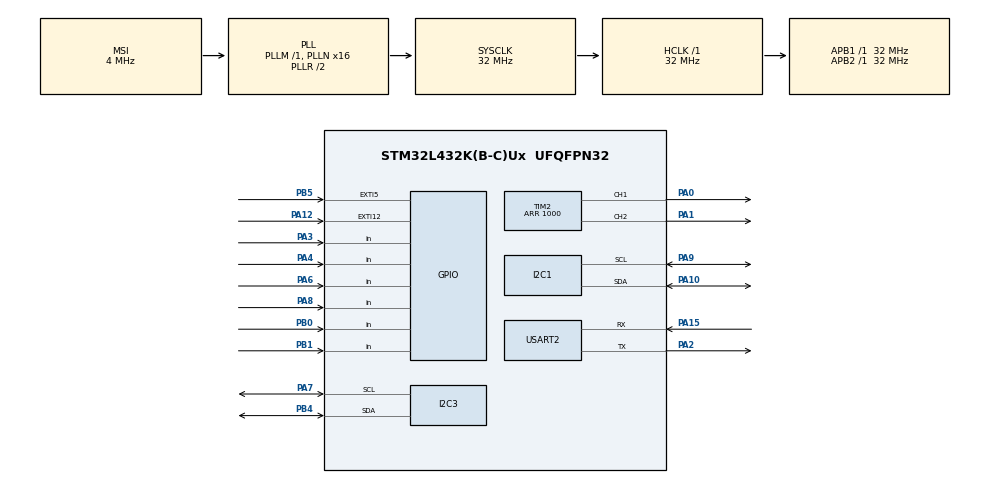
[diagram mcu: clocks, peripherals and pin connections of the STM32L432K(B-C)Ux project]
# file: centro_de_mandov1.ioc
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I2C1.Timing=0x00B07CB4
I2C3.Timing=0x00B07CB4
Mcu.Family=STM32L4
Mcu.Name=STM32L432K(B-C)Ux
Mcu.Package=UFQFPN32
NVIC.EXTI15_10_IRQn=true\:0\:0\:false\:false\:true\:true\:true\:true
NVIC.EXTI9_5_IRQn=true\:0\:0\:false\:false\:true\:true\:true\:true
NVIC.PriorityGroup=NVIC_PRIORITYGROUP_4
NVIC.USART2_IRQn=true\:0\:0\:false\:false\:true\:true\:true\:true
PA0.Signal=S_TIM2_CH1
PA1.Signal=S_TIM2_CH2
PA10.Mode=I2C
PA10.Signal=I2C1_SDA
PA12.GPIO_ModeDefaultEXTI=GPIO_MODE_IT_RISING_FALLING
PA12.Signal=GPXTI12
PA15\ (JTDI).Mode=Asynchronous
PA15\ (JTDI).Signal=USART2_RX
PA2.Mode=Asynchronous
PA2.Signal=USART2_TX
PA3.GPIO_PuPd=GPIO_PULLDOWN
PA3.Signal=GPIO_Input
PA4.GPIO_PuPd=GPIO_PULLDOWN
PA4.Signal=GPIO_Input
PA6.GPIO_PuPd=GPIO_PULLDOWN
PA6.Signal=GPIO_Input
PA7.Mode=I2C
PA7.Signal=I2C3_SCL
PA8.GPIO_PuPd=GPIO_PULLDOWN
PA8.Signal=GPIO_Input
PA9.Mode=I2C
PA9.Signal=I2C1_SCL
PB0.GPIO_PuPd=GPIO_PULLDOWN
PB0.Signal=GPIO_Input
PB1.GPIO_PuPd=GPIO_PULLDOWN
PB1.Signal=GPIO_Input
PB4\ (NJTRST).Mode=I2C
PB4\ (NJTRST).Signal=I2C3_SDA
PB5.GPIO_ModeDefaultEXTI=GPIO_MODE_IT_RISING_FALLING
PB5.GPIO_PuPd=GPIO_PULLUP
PB5.Signal=GPXTI5
ProjectManager.HeapSize=0x200
ProjectManager.StackSize=0x400
ProjectManager.TargetToolchain=STM32CubeIDE
RCC.AHBFreq_Value=32000000
RCC.APB1Freq_Value=32000000
RCC.APB1TimFreq_Value=32000000
RCC.APB2Freq_Value=32000000
RCC.APB2TimFreq_Value=32000000
RCC.CortexFreq_Value=32000000
RCC.HCLKFreq_Value=32000000
RCC.HSE_VALUE=8000000
RCC.HSI16_VALUE=16000000
RCC.HSI48_VALUE=48000000
RCC.HSI_VALUE=16000000
RCC.LSE_VALUE=32768
RCC.MSI_VALUE=4000000
RCC.PLLMUL=RCC_PLLMUL_4
RCC.PLLN=16
RCC.SYSCLKFreq_VALUE=32000000
RCC.SYSCLKSource=RCC_SYSCLKSOURCE_PLLCLK
RCC.VCOOutputFreq_Value=64000000
SH.S_TIM2_CH1.0=TIM2_CH1,PWM Generation1 CH1
SH.S_TIM2_CH2.0=TIM2_CH2,PWM Generation2 CH2
TIM2.Channel-PWM\ Generation1\ CH1=TIM_CHANNEL_1
TIM2.Channel-PWM\ Generation2\ CH2=TIM_CHANNEL_2
TIM2.Period=1000
USART2.VirtualMode-Asynchronous=VM_ASYNC
VP_TIM2_VS_ClockSourceINT.Mode=Internal
board=NUCLEO-L432KC

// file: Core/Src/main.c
/* USER CODE BEGIN Header */
/**
  ******************************************************************************
  * @file           : main.c
  * @brief          : Main program body
  ******************************************************************************
  * @attention
  *
  * Copyright (c) 2025 STMicroelectronics.
  * All rights reserved.
  *
  * This software is licensed under terms that can be found in the LICENSE file
  * in the root directory of this software component.
  * If no LICENSE file comes with this software, it is provided AS-IS.
  *
  ******************************************************************************
  */
/* USER CODE END Header */
#include "main.h"
#include "i2c.h"
#include "tim.h"
#include "usart.h"
#include "gpio.h"

/* USER CODE BEGIN Includes */
#include <stdio.h>  // Necesario para printf y sscanf
#include <string.h>
/* USER CODE END Includes */

/* USER CODE BEGIN PV */
uint8_t btn_lim, btn_su, btn1, btn2, btn3, btn4;
uint8_t bl_last=0, bs_last=0, b1_last=0, b2_last=0, b3_last=0, b4_last=0;
uint16_t angulo_anterior_1 = 0, angulo_anterior_2 = 0;
int32_t enc1_accumulator = 0, enc2_accumulator = 0;
//4096 pulsos del sensor en 360 grados
const int32_t MAGNETIC_THRESHOLD_1 = 90; // Para el volante 1 e2 de 8 grado
const int32_t MAGNETIC_THRESHOLD_2 = 90; // Para el volante 2 e1 de 8 grado es mayor por la transmision
int8_t enc1_send = 0, enc2_send = 0, activate = 0;

volatile int32_t encoder_insercion = 0;
uint32_t last_irq_ins = 0;
int8_t pasos_acumulados_ins = 0;
const int8_t PASOS_POR_CLICK = 2;

uint8_t err_encoder = 0;

uint8_t rx_byte;
char rx_buffer[20];
uint8_t rx_index = 0;
uint8_t mensaje_completo = 0;

// VARIABLES PARA EL VIBRADOR
uint32_t tiempo_inicio_vibracion = 0;
uint8_t vibrando = 0;

// Tabla de estados válidos del encoder
// Solo suma 1 o resta -1 si la secuencia física es matemáticamente correcta.
const int8_t tabla_encoder[16] = {0, 1, -1, 0, -1, 0, 0, 1, 1, 0, 0, -1, 0, -1, 1, 0};

// Memoria para guardar el estado del milisegundo anterior
uint8_t estado_ant_1 = 0;
uint8_t estado_ant_2 = 0;

/* USER CODE END PV */

void SystemClock_Config(void);

/* USER CODE BEGIN 0 */
#define AS5600_ADDR 0x6C // 0x36 desplazado a la izquierda para STM32
#define RAW_ANGLE_REG 0x0C

// Llamamos a los puertos I2C que configurarás en el CubeIDE
extern I2C_HandleTypeDef hi2c1;
extern I2C_HandleTypeDef hi2c3;

uint8_t readButton(GPIO_TypeDef* GPIOx, uint16_t GPIO_Pin, uint8_t *lastState) {
    uint8_t current = HAL_GPIO_ReadPin(GPIOx, GPIO_Pin);
    uint8_t pressed = 0;

    if (current != *lastState) {
        HAL_Delay(10); // debounce
        current = HAL_GPIO_ReadPin(GPIOx, GPIO_Pin);

        if (current != *lastState) {
            *lastState = current;
            if (current == 1) pressed = 1; // Solo reacciona al soltar/presionar (flanco de subida)
        }
    }
    return pressed;
}

// Leer ángulo del AS5600
uint16_t Leer_Angulo_AS5600(I2C_HandleTypeDef *hi2c, uint16_t angulo_seguro) {
    uint8_t buffer[2];
    // Solicitamos 2 bytes desde el registro 0x0C
    if (HAL_I2C_Mem_Read(hi2c, AS5600_ADDR, RAW_ANGLE_REG, I2C_MEMADD_SIZE_8BIT, buffer, 2, 10) == HAL_OK) {
        uint16_t angulo = (buffer[0] << 8) | buffer[1];
        return angulo & 0x0FFF; // Filtramos la basura para dejar solo 12 bits
    }
    return angulo_seguro; // Si el I2C falla Retorna 0 si el sensor está desconectado
}

int _write(int file, char *ptr, int len) {
    HAL_UART_Transmit(&huart2, (uint8_t*)ptr, len, HAL_MAX_DELAY);
    return len;
}
// INTERRUPCIONES DE LOS ENCODERS (Máquina de Estados)
void HAL_GPIO_EXTI_Callback(uint16_t GPIO_Pin) {

    // ENCODER 1: Inserción (PB5 = CLK, PA12 = DT)
    if(GPIO_Pin == GPIO_PIN_5 || GPIO_Pin == GPIO_PIN_12) {

        uint8_t clk = HAL_GPIO_ReadPin(GPIOB, GPIO_PIN_5);
        uint8_t dt = HAL_GPIO_ReadPin(GPIOA, GPIO_PIN_12);

        uint8_t estado_actual = (clk << 1) | dt;
        uint8_t indice = (estado_ant_1 << 2) | estado_actual;

        int8_t movimiento = tabla_encoder[indice];

        if(movimiento != 0) {
            // En lugar de disparar directo, ACUMULAMOS los micropasos
            pasos_acumulados_ins += movimiento;

            // Verificamos si ya se completó el "Click Físico"
            if(pasos_acumulados_ins >= PASOS_POR_CLICK) {
                encoder_insercion += 1;
                activate = 1;
                pasos_acumulados_ins = 0; // Vaciamos el acumulador
            }
            else if(pasos_acumulados_ins <= -PASOS_POR_CLICK) {
                encoder_insercion -= 1;
                activate = 1;
                pasos_acumulados_ins = 0; // Vaciamos el acumulador
            }
        }

        estado_ant_1 = estado_actual;
    }
}
// INTERRUPCIÓN DE RECEPCIÓN UART (Mensajes de Unity)
// Unity debe enviar mensajes terminados en '\n', ej: "V1:100\n"

void HAL_UART_RxCpltCallback(UART_HandleTypeDef *huart) {
    if(huart->Instance == USART2) {

        // 1. CASO  pregunta de identificación?
        if(rx_byte == '?') {
            // Respondemos con la firma única del proyecto
            // El \n es vital para que el puerto serial de Unity sepa que terminó la línea
            printf("ID:ENDOSCOPIO_V1\n");

            // NO guardamos el '?' en el buffer, simplemente reiniciamos la escucha
        }
        // CASO PING INSTANTÁNEO
        else if(rx_byte == 'P') {
			printf("PONG\r\n"); // Rebota a la velocidad de la luz
		}
		// ------------------------------------
		// 2. CASO NORMAL: Mensajes de vibración terminados en \n
		else {
			if(rx_byte == '\n' || rx_index >= 19) {
				rx_buffer[rx_index] = '\0'; // Terminamos el string
				mensaje_completo = 1;
				rx_index = 0;
			} else {
				rx_buffer[rx_index++] = rx_byte;
			}
		}

        // 3. CONTINUIDAD: Volvemos a habilitar la escucha del siguiente byte
        HAL_UART_Receive_IT(&huart2, &rx_byte, 1);
    }
}
/* USER CODE END 0 */

int main(void)
{

  /* MCU Configuration--------------------------------------------------------*/

  /* Reset of all peripherals, Initializes the Flash interface and the Systick. */
  HAL_Init();

  /* Configure the system clock */
  SystemClock_Config();

  /* Initialize all configured peripherals */
  MX_GPIO_Init();
  MX_I2C1_Init();
  MX_I2C3_Init();
  MX_TIM2_Init();
  MX_USART2_UART_Init();
  /* USER CODE BEGIN 2 */
  printf("\r\n--- INICIANDO TEST CRUDO I2C ---\r\n");
    uint8_t test_buffer[2];

    // Test I2C1 (Volante 1 en PA9/PA10)
    if(HAL_I2C_Mem_Read(&hi2c1, 0x6C, 0x0C, I2C_MEMADD_SIZE_8BIT, test_buffer, 2, 100) == HAL_OK) {
        printf(">>> I2C1 (PA9/PB10) VIVO <<< Angulo: %d\r\n", (test_buffer[0] << 8) | test_buffer[1]);
    } else {
        uint32_t err1 = HAL_I2C_GetError(&hi2c1);
        printf("I2C1 MUERTO. Codigo error HAL: %lu\r\n", err1);
    }

    // Test I2C3 (Volante 2 en PA7 / PB4)
    if(HAL_I2C_Mem_Read(&hi2c3, 0x6C, 0x0C, I2C_MEMADD_SIZE_8BIT, test_buffer, 2, 100) == HAL_OK) {
        printf(">>> I2C3 (PA7/PB4) VIVO <<< Angulo: %d\r\n", (test_buffer[0] << 8) | test_buffer[1]);
    } else {
        uint32_t err3 = HAL_I2C_GetError(&hi2c3);
        printf("I2C3 MUERTO. Codigo error HAL: %lu\r\n", err3);
    }

    printf("--------------------------------\r\n");
    HAL_Delay(3000);
  // Encender PWM de Motores en 0% (TIM2)
  HAL_TIM_PWM_Start(&htim2, TIM_CHANNEL_1); // PA0
  HAL_TIM_PWM_Start(&htim2, TIM_CHANNEL_2); // PA1
  TIM2->CCR1 = 0; // Motor 1 apagado (0 a 1000)
  TIM2->CCR2 = 0; // Motor 2 apagado

  // Iniciar escucha por Serial (UART2)
  HAL_UART_Receive_IT(&huart2, &rx_byte, 1);

  // Lectura inicial de AS5600
  angulo_anterior_1 = Leer_Angulo_AS5600(&hi2c1, 1512);
  angulo_anterior_2 = Leer_Angulo_AS5600(&hi2c3, 1512);
  /* USER CODE END 2 */

  /* Infinite loop */
  /* USER CODE BEGIN WHILE */
  while (1)
    {

	    // 1. BOTONES
	    btn_lim = readButton(GPIOB, GPIO_PIN_1, &bl_last);
	    btn_su  = readButton(GPIOA, GPIO_PIN_3, &bs_last);
	    btn1    = readButton(GPIOA, GPIO_PIN_4, &b1_last);
	    btn2    = readButton(GPIOA, GPIO_PIN_6, &b2_last);
	    btn3    = readButton(GPIOA, GPIO_PIN_8, &b3_last);
	    btn4    = readButton(GPIOB, GPIO_PIN_0, &b4_last);

		// 2. VOLANTES (AS5600)
	    uint16_t angulo_actual_1 = Leer_Angulo_AS5600(&hi2c1, angulo_anterior_1);
		uint16_t angulo_actual_2 = Leer_Angulo_AS5600(&hi2c3, angulo_anterior_2);

		if(angulo_actual_1 == 1512 && angulo_actual_2 == 1512) err_encoder = 1;
		else err_encoder = 0;

		int16_t diff_1 = angulo_actual_1 - angulo_anterior_1;
		int16_t diff_2 = angulo_actual_2 - angulo_anterior_2;

		if (diff_1 > 2048) diff_1 -= 4096;
		if (diff_1 < -2048) diff_1 += 4096;
		if (diff_2 > 2048) diff_2 -= 4096;
		if (diff_2 < -2048) diff_2 += 4096;

		angulo_anterior_1 = angulo_actual_1;
		angulo_anterior_2 = angulo_actual_2;

		enc1_accumulator += diff_1;
		enc2_accumulator += diff_2;

		if (enc1_accumulator >= MAGNETIC_THRESHOLD_1) {
					enc1_send = 1; enc1_accumulator -= MAGNETIC_THRESHOLD_1; activate = 1;
		} else if (enc1_accumulator <= -MAGNETIC_THRESHOLD_1) {
			enc1_send = -1; enc1_accumulator += MAGNETIC_THRESHOLD_1; activate = 1;
		}

		if (enc2_accumulator >= MAGNETIC_THRESHOLD_2) {
			enc2_send = 1; enc2_accumulator -= MAGNETIC_THRESHOLD_2; activate = 1;
		} else if (enc2_accumulator <= -MAGNETIC_THRESHOLD_2) {
			enc2_send = -1; enc2_accumulator += MAGNETIC_THRESHOLD_2; activate = 1;
		}

		// 3. RECEPCIÓN UNITY -> VIBRACIÓN (COPIA SEGURA ANTI-CORRUPCIÓN)
		if(mensaje_completo == 1) {
			char local_buffer[20];

			// --- ZONA CRÍTICA ---
			// Deshabilitamos interrupciones globales un instante para que la UART
			// no modifique el string mientras lo estamos duplicando.
			__disable_irq();
			strcpy(local_buffer, (char*)rx_buffer);
			mensaje_completo = 0; // Bajamos la bandera inmediatamente
			__enable_irq();
			// --- FIN ZONA CRÍTICA ---

			int fuerza_motor = 0;

			// Ahora escaneamos el buffer local aislado. La UART puede interrumpir
			// y escribir en rx_buffer todo lo que quiera, no nos corromperá este análisis.
			if(sscanf(local_buffer, "V1:%d", &fuerza_motor) == 1) {
				TIM2->CCR1 = fuerza_motor;
				tiempo_inicio_vibracion = HAL_GetTick();
				vibrando = 1;
			}
			else if(sscanf(local_buffer, "V2:%d", &fuerza_motor) == 1) {
				TIM2->CCR2 = fuerza_motor;
				tiempo_inicio_vibracion = HAL_GetTick();
				vibrando = 1;
			}
		}

		  // 4. EL AUTO-APAGADO DEL VIBRADOR (Cooldown de 1 segundo)
		  if(vibrando == 1 && (HAL_GetTick() - tiempo_inicio_vibracion >= 1000)) {
			  TIM2->CCR1 = 0; // Apaga Motor 1
			  TIM2->CCR2 = 0; // Apaga Motor 2
			  vibrando = 0;   // Resetea el estado
		  }
		// 5. ENVÍO DE DATOS A UNITY
		  if (btn_lim || btn_su || btn1 || btn2 || btn3 || btn4 || activate == 1) {

			  // Limitador a +1 / -1 solo para Inserción
			  if (encoder_insercion > 1) encoder_insercion = 1;
			  else if (encoder_insercion < -1) encoder_insercion = -1;

			  //FORMATO DE ENVÍO ORDENADO
			  // Lim:0 Su:0 B1:0 B2:0 B3:0 B4:0 E1:0 E2:0 INS:0
			  printf("Lim:%d Su:%d B1:%d B2:%d B3:%d B4:%d E1:%d E2:%d INS:%ld\r\n",
					 btn_lim, btn_su, btn1, btn2, btn3, btn4,
					 enc2_send, enc1_send, -encoder_insercion);

			  activate = 0;
			  enc1_send = 0;
			  enc2_send = 0;
			  encoder_insercion = 0;
		  }

		  HAL_Delay(10);
	  }
    /* USER CODE END WHILE */

}

void SystemClock_Config(void)
{
  RCC_OscInitTypeDef RCC_OscInitStruct = {0};
  RCC_ClkInitTypeDef RCC_ClkInitStruct = {0};

  /** Configure the main internal regulator output voltage
  */
  if (HAL_PWREx_ControlVoltageScaling(PWR_REGULATOR_VOLTAGE_SCALE1) != HAL_OK)
  {
    Error_Handler();
  }

  /** Initializes the RCC Oscillators according to the specified parameters
  * in the RCC_OscInitTypeDef structure.
  */
  RCC_OscInitStruct.OscillatorType = RCC_OSCILLATORTYPE_MSI;
  RCC_OscInitStruct.MSIState = RCC_MSI_ON;
  RCC_OscInitStruct.MSICalibrationValue = 0;
  RCC_OscInitStruct.MSIClockRange = RCC_MSIRANGE_6;
  RCC_OscInitStruct.PLL.PLLState = RCC_PLL_ON;
  RCC_OscInitStruct.PLL.PLLSource = RCC_PLLSOURCE_MSI;
  RCC_OscInitStruct.PLL.PLLM = 1;
  RCC_OscInitStruct.PLL.PLLN = 16;
  RCC_OscInitStruct.PLL.PLLP = RCC_PLLP_DIV7;
  RCC_OscInitStruct.PLL.PLLQ = RCC_PLLQ_DIV2;
  RCC_OscInitStruct.PLL.PLLR = RCC_PLLR_DIV2;
  if (HAL_RCC_OscConfig(&RCC_OscInitStruct) != HAL_OK)
  {
    Error_Handler();
  }

  /** Initializes the CPU, AHB and APB buses clocks
  */
  RCC_ClkInitStruct.ClockType = RCC_CLOCKTYPE_HCLK|RCC_CLOCKTYPE_SYSCLK
                              |RCC_CLOCKTYPE_PCLK1|RCC_CLOCKTYPE_PCLK2;
  RCC_ClkInitStruct.SYSCLKSource = RCC_SYSCLKSOURCE_PLLCLK;
  RCC_ClkInitStruct.AHBCLKDivider = RCC_SYSCLK_DIV1;
  RCC_ClkInitStruct.APB1CLKDivider = RCC_HCLK_DIV1;
  RCC_ClkInitStruct.APB2CLKDivider = RCC_HCLK_DIV1;

  if (HAL_RCC_ClockConfig(&RCC_ClkInitStruct, FLASH_LATENCY_1) != HAL_OK)
  {
    Error_Handler();
  }
}

/* USER CODE BEGIN 4 */

// PROTOCOLO DE RESURRECCIÓN UART
void HAL_UART_ErrorCallback(UART_HandleTypeDef *huart) {
    if (huart->Instance == USART2) {

        // 1. Limpiamos las banderas de error de hardware (Overrun, Noise, Framing)
        __HAL_UART_CLEAR_OREFLAG(huart);
        __HAL_UART_CLEAR_NEFLAG(huart);
        __HAL_UART_CLEAR_FEFLAG(huart);

        // 2. Forzamos a la UART a volver a escuchar
        HAL_UART_Receive_IT(&huart2, &rx_byte, 1);
    }
}
/* USER CODE END 4 */

void Error_Handler(void)
{
  __disable_irq();
  while (1)
  {
  }
}
